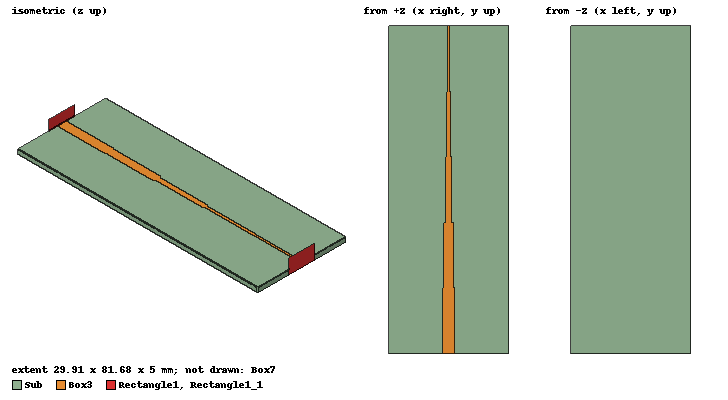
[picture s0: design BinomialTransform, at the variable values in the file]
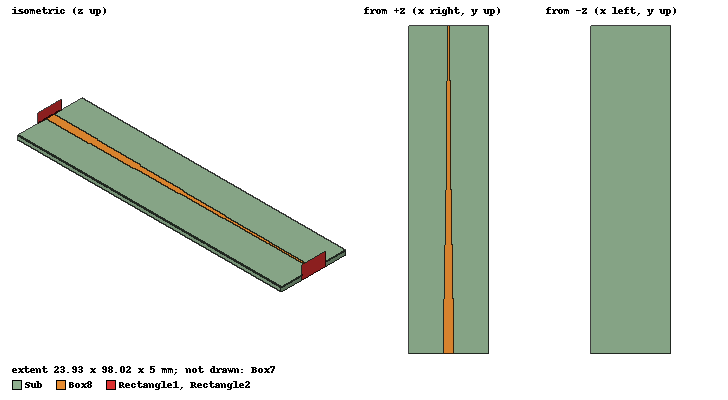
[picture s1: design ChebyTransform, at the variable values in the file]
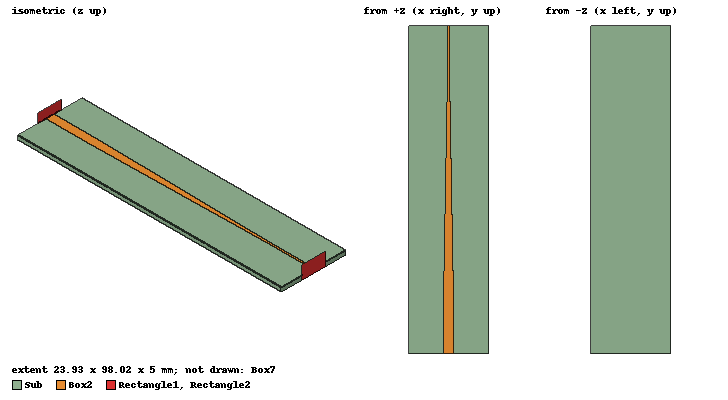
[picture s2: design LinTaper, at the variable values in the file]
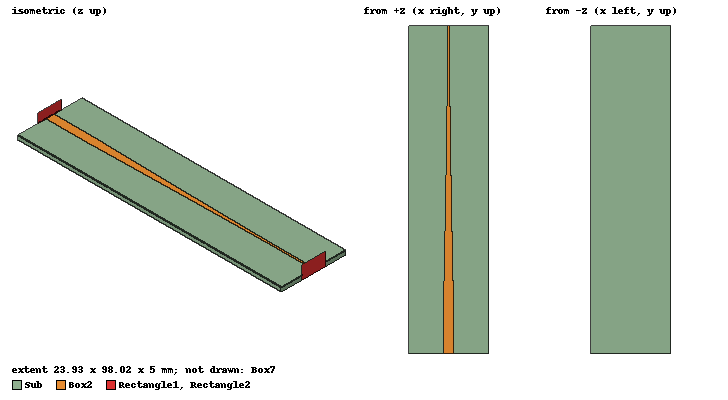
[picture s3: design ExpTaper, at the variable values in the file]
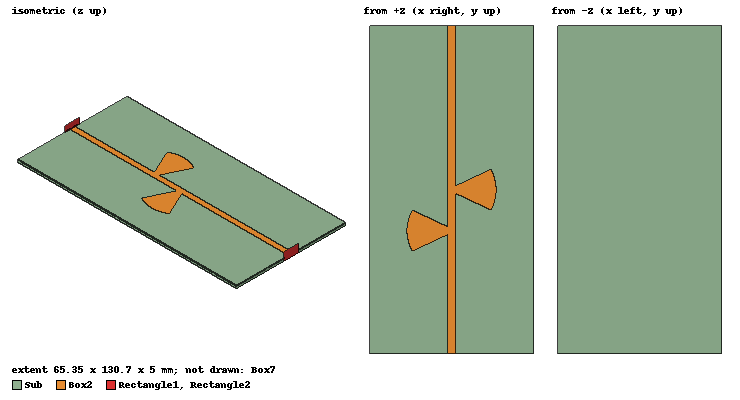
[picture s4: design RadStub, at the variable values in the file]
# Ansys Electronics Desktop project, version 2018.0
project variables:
  $h = 62mil
  $t = 0.7mil
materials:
  copper: permeability=0.999991 conductivity=58000000
  FR4_epoxy: permittivity=4.4 dielectric_loss_tangent=0.02
  vacuum: permittivity=1

design BinomialTransform (HFSS, DrivenModal, model units mm)
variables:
  h = 62mil
  w = 2.99067mm
  lam = (16.3365*4) mm
  w1 = 2.57627mm
  w2 = 1.5658mm
  w3 = 0.849831mm
  t = 0.7mil
  w4 = 0.6694mm
  reflectStandard = 20mm
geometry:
  Sub [FR4_epoxy] = box(corner=(-5*w, -lam/2, 0mm), size=(10*w, 5*lam/4, h))
  Box2 = box(corner=(-w/2, -lam/2, h), size=(w, lam/4, t))
  Box3 [copper] = box(corner=(-w1/2, -lam/4, h), size=(w1, lam/4, t))
  Box4 = box(corner=(-w2/2, 0, h), size=(w2, lam/4, t))
  Box5 = box(corner=(-w3/2, lam/4, h), size=(w3, lam/4, t))
  Box6 = box(corner=(-w4/2, lam/2, h), size=(w4, lam/4, t))
  Box7 [vacuum] = box(corner=(-5*w, -lam/2, h), size=(10*w, 5*lam/4, h+5*w))
  Box3.unite(Box4, Box6, Box2)
  Box3.unite(Box5)
  Rectangle1 = rectangle(corner=(-w/2-3mm, -lam/2, 0mm), z_size=5mm, x_size=w+6mm)
  Rectangle1_1 = Rectangle1.duplicate_along_line(step=(0mm, 5*lam/4, 0mm), total=2)
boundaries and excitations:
  Rad1: Radiation Faces=Box7.face(+x, +z, +y, -x, -y)
  1: Wave Port Objects=Rectangle1 NumModes=1 Modes{Mode1{IntLine{middle of Rectangle1.edge(z at corner) -> middle of Rectangle1.edge(z opposite corner)} CharImp=Zpi RenormImp=50ohm}}
  2: Wave Port Objects=Rectangle1_1 NumModes=1 Modes{Mode1{IntLine{middle of Rectangle1_1.edge(4 of 4) -> middle of Rectangle1_1.edge(2 of 4)} CharImp=Zpi}}
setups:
  Setup1: HfssDriven Frequency=2.5GHz MaxDeltaS=0.02 MaximumPasses=6 MinimumPasses=1 MinimumConvergedPasses=1 PercentRefinement=30 BasisOrder=1 PortAccuracy=2
    sweep Sweep: 0GHz to 6GHz step 0.01GHz; Type=Interpolating InterpTolerance=0.5 InterpMaxSolns=250 MinSolvedFreq=0.01GHz InterpUsePortImped=false PassivityErrorTolerance=0.0001
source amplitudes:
  1:1: 1W 0deg
  2:1: 0W 0deg
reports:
  Magnitude: dB(S(1,1)), dB(S(2,1)) vs Freq on Setup1 : Sweep; markers S11 at 2.5GHz, S21 at 2.5GHz
  Phase: ang_deg(S(1,1)), ang_deg(S(2,1)) vs Freq on Setup1 : Sweep
  VSWR: VSWR(1) vs Freq on Setup1 : Sweep; markers m1 at 2.5GHz

design ChebyTransform (HFSS, DrivenModal, model units mm)
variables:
  h = 62mil
  w = 2.99067mm
  lam = (16.3365*4) mm
  w4 = 0.902071mm
  t = 0.7mil
  w1 = 2.47403mm
  w2 = 1.86975mm
  w3 = 1.29407mm
  w5 = 0.6694mm
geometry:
  Sub [FR4_epoxy] = box(corner=(-4*w, -lam/2, 0mm), size=(8*w, 6*lam/4, h))
  Box3 = box(corner=(-w1/2, -lam/4, h), size=(w1, lam/4, t))
  Box4 = box(corner=(-w2/2, 0, h), size=(w2, lam/4, t))
  Box6 = box(corner=(-w4/2, lam/2, h), size=(w4, lam/4, t))
  Box2 = box(corner=(-w/2, -lam/2, h), size=(w, lam/4, t))
  Box3.unite(Box4, Box6, Box2)
  Box5 = box(corner=(-w3/2, lam/4, h), size=(w3, lam/4, t))
  Box3.unite(Box5)
  Box7 [vacuum] = box(corner=(-4*w, -lam/2, h), size=(8*w, 6*lam/4, 5*w))
  Rectangle1 = rectangle(corner=(-w/2 -3mm, -lam/2, 0mm), z_size=5mm, x_size=w+6mm)
  Rectangle2 = rectangle(corner=(-w/2-3mm, 4*lam/4, 0mm), z_size=5mm, x_size=w+6mm)
  Box8 [copper] = box(corner=(-w5/2, 3*lam/4, h), size=(w5, lam/4, t))
  Box8.unite(Box3)
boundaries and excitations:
  Rad1: Radiation Faces=Box7.face(+z, +x, +y, -x, -y)
  1: Wave Port Objects=Rectangle1 NumModes=1 Modes{Mode1{IntLine{middle of Rectangle1.edge(z at corner) -> middle of Rectangle1.edge(z opposite corner)} CharImp=Zpi}}
  2: Wave Port Objects=Rectangle2 NumModes=1 Modes{Mode1{IntLine{middle of Rectangle2.edge(z at corner) -> middle of Rectangle2.edge(z opposite corner)} CharImp=Zpi}}
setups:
  Setup1: HfssDriven Frequency=2.5GHz MaxDeltaS=0.02 MaximumPasses=6 MinimumPasses=1 MinimumConvergedPasses=1 PercentRefinement=30 BasisOrder=1 PortAccuracy=2
    sweep Sweep: 0GHz to 6GHz step 0.01GHz; Type=Interpolating InterpTolerance=0.5 InterpMaxSolns=250 MinSolvedFreq=0.01GHz InterpUsePortImped=false PassivityErrorTolerance=0.0001
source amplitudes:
  1:1: 1W 0deg
  2:1: 0W 0deg
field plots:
  Mag_E1: E Field over Box8.face(+z) on Setup1 : LastAdaptive at Freq=2.5GHz Phase=0deg
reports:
  Magnitude: dB(S(1,1)), dB(S(2,1)) vs Freq on Setup1 : Sweep; markers S11 at 2.5GHz, S21 at 2.5GHz
  Phase: ang_deg(S(1,1)), ang_deg(S(2,1)) vs Freq on Setup1 : Sweep; markers S21 at 2.5GHz, S11 at 2.5GHz
  VSWR: VSWR(1) vs Freq on Setup1 : Sweep; markers m1 at 2.5GHz

design LinTaper (HFSS, DrivenModal, model units mm)
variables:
  h = 62mil
  w = 2.99067mm
  lam = (16.3365*4) mm
  w5 = 0.6694mm
  w1 = 2.47403mm
  t = 0.7mil
  w4 = 0.902071mm
  w3 = 1.29407mm
  w2 = 1.86975mm
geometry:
  Sub [FR4_epoxy] = box(corner=(-4*w, -lam/2, 0mm), size=(8*w, 3*lam/2, h))
  Box7 [vacuum] = box(corner=(-4*w, -lam/2, h), size=(8*w, 3*lam/2, 5*w))
  Rectangle1 = rectangle(corner=(-w/2 -3mm, -lam/2, 0mm), z_size=5mm, x_size=w+6mm)
  Rectangle2 = rectangle(corner=(-w/2-3mm, lam, 0mm), z_size=5mm, x_size=w+6mm)
  Box8 = box(corner=(-w5/2, 3*lam/4, h), size=(w5, lam/4, t))
  Box2 [copper] = box(corner=(-w/2, -lam/2, h), size=(w, lam/4, t))
  Polyline1 = polyline(z=h, xy: (-w/2, -lam/4) (w/2, -lam/4) (w5/2, 3*lam/4) (-w5/2, 3*lam/4) (-w/2, -lam/4), closed, covered)
  Polyline1.thicken(t)
  Box2.unite(Box8, Polyline1)
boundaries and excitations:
  Rad1: Radiation Faces=Box7.face(+x, +z, +y, -x, -y)
  1: Wave Port Faces=Rectangle1.face NumModes=1 Modes{Mode1{IntLine{middle of Rectangle1.edge(z at corner) -> middle of Rectangle1.edge(z opposite corner)} CharImp=Zpi}}
  2: Wave Port Faces=Rectangle2.face NumModes=1 Modes{Mode1{IntLine{middle of Rectangle2.edge(z at corner) -> middle of Rectangle2.edge(z opposite corner)} CharImp=Zpi}}
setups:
  Setup1: HfssDriven Frequency=2.5GHz MaxDeltaS=0.02 MaximumPasses=6 MinimumPasses=1 MinimumConvergedPasses=1 PercentRefinement=30 BasisOrder=1 PortAccuracy=2
    sweep Sweep: 0GHz to 6GHz step 0.01GHz; Type=Interpolating InterpTolerance=0.5 InterpMaxSolns=250 MinSolvedFreq=0.01GHz InterpUsePortImped=false PassivityErrorTolerance=0.0001
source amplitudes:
  1:1: 1W 0deg
  2:1: 0W 0deg
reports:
  Magnitude: dB(S(1,1)), dB(S(2,1)) vs Freq on Setup1 : Sweep; markers S11 at 2.5GHz, S21 at 2.5GHz
  Phase: ang_deg(S(1,1)), ang_deg(S(2,1)) vs Freq on Setup1 : Sweep; markers S21 at 2.5GHz, S11 at 2.5GHz
  VSWR: VSWR(1) vs Freq on Setup1 : Sweep; markers m1 at 2.5GHz

design ExpTaper (HFSS, DrivenModal, model units mm)
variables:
  h = 62mil
  w = 2.99067mm
  lam = (16.3365*4) mm
  w5 = 0.6694mm
  t = 0.7mil
  z0 = 50
  zL = 100
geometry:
  Sub [FR4_epoxy] = box(corner=(-4*w, -lam/2, 0mm), size=(8*w, 6*lam/4, h))
  Box7 [vacuum] = box(corner=(-4*w, -lam/2, h), size=(8*w, 6*lam/4, 5*w))
  Rectangle1 = rectangle(corner=(-w/2 -3mm, -lam/2, 0mm), z_size=5mm, x_size=w+6mm)
  Rectangle2 = rectangle(corner=(-w/2-3mm, lam, 0mm), z_size=5mm, x_size=w+6mm)
  Box2 [copper] = box(corner=(-w/2, -lam/2, h), size=(w, lam/4, t))
  Box8 = box(corner=(-w5/2, 3*lam/4, h), size=(w5, lam/4, t))
  EquationCurve1 = equation_curve(x=(( (7.48*h) / exp((z0*exp((_t+lam/4)/(lam)*ln(zL/z0))) * sqrt(4.4+1.41)/87) ) - 1.25*t)/2, y=_t, z=h, _t=-lam/4 to 3*lam/4)
  EquationCurve1_1 = EquationCurve1.duplicate_mirror(point=(0mm, -16.3365mm, h), normal=(0.99998153mm, 0mm, 0mm))
  Polyline1 = polyline((1.4628139mm, -lam/4, h) (-1.4628139mm, -lam/4, h))
  Polyline2 = polyline((0.3577416mm, 3*lam/4, h) (-0.3577416mm, 3*lam/4, h))
  EquationCurve1.unite(EquationCurve1_1, Polyline1, Polyline2)
  EquationCurve1.cover_lines()
  EquationCurve1.thicken(t)
  Box2.unite(EquationCurve1, Box8)
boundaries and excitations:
  Rad1: Radiation Faces=Box7.face(+x, +y, +z, -x, -y)
  1: Wave Port Objects=Rectangle1 NumModes=1 Modes{Mode1{IntLine{middle of Rectangle1.edge(z at corner) -> middle of Rectangle1.edge(z opposite corner)} CharImp=Zpi}}
  2: Wave Port Objects=Rectangle2 NumModes=1 Modes{Mode1{IntLine{middle of Rectangle2.edge(z at corner) -> middle of Rectangle2.edge(z opposite corner)} CharImp=Zpi}}
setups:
  Setup1: HfssDriven Frequency=2.5GHz MaxDeltaS=0.02 MaximumPasses=6 MinimumPasses=1 MinimumConvergedPasses=1 PercentRefinement=30 BasisOrder=1 PortAccuracy=2
    sweep Sweep: 0GHz to 6GHz step 0.01GHz; Type=Interpolating InterpTolerance=0.5 InterpMaxSolns=250 MinSolvedFreq=0.01GHz InterpUsePortImped=false PassivityErrorTolerance=0.0001
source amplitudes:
  1:1: 1W 0deg
  2:1: 0W 0deg
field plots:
  Mag_E1: E Field over Box2.face(4 of 6, 5 of 6, 6 of 6, +z, -z, -y, -x, +x) on Setup1 : LastAdaptive at Freq=2.5GHz Phase=0deg
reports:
  Magnitude: dB(S(1,1)), dB(S(2,1)) vs Freq on Setup1 : Sweep; markers S11 at 2.5GHz, S21 at 2.5GHz
  Phase: ang_deg(S(1,1)), ang_deg(S(2,1)) vs Freq on Setup1 : Sweep; markers S11 at 2.5GHz, S21 at 2.5GHz
  VSWR: VSWR(1) vs Freq on Setup1 : Sweep; markers m1 at 2.5GHz

design RadStub (HFSS, DrivenModal, model units mm)
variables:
  h = 62mil
  w = 2.99067mm
  lam = (16.3365*4) mm
  w5 = 0.6694mm
  t = 0.7mil
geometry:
  Sub [FR4_epoxy] = box(corner=(-lam/2, -lam, 0mm), size=(lam, 2*lam, h))
  Box7 [vacuum] = box(corner=(-lam/2, -lam, h), size=(lam, lam*2, 5*w))
  Rectangle1 = rectangle(corner=(-w/2 -3mm, -lam, 0mm), z_size=5mm, x_size=w+6mm)
  Rectangle2 = rectangle(corner=(-w/2-3mm, lam, 0mm), z_size=5mm, x_size=w+6mm)
  Box2 [copper] = box(corner=(-w/2, -lam, h), size=(w, 2*lam, t))
  Polyline2 = polyline((-w/2, -lam/4-w/2, h) (-w/2, -lam/4 + w/2, h))
  Polyline4 = polyline((-w/2, -lam/4 + w/2, h) (-w/2 - sqrt(3)*lam/8, -lam/8, h))
  Polyline5 = polyline((-w/2, -lam/4 - w/2, h) (-w/2 - sqrt(3)*lam/8, -3*lam/8, h))
  Polyline6 = polyline((-w/2 -sqrt(3)*lam/8, - lam/8, h) (-17.831835mm, -16.3365mm, 1.5748mm) (-15.643159mm, -24.50475mm, 1.5748mm), AngularArc from point 0 over 3 centre=(-w/2, -lam/4, h) angle=60deg plane=XY)
  Polyline2.unite(Polyline4, Polyline5, Polyline6)
  Polyline2.cover_lines()
  Polyline2.thicken(t)
  Polyline2_1 = Polyline2.duplicate_along_line(step=(0mm, lam/4, 0mm), total=2)
  Polyline2_1.mirror(point=(0mm, 0mm, h), normal=(-1mm, 0mm, 0mm))
  Box2.unite(Polyline2, Polyline2_1)
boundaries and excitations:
  Rad1: Radiation Faces=Box7.face(+x, +z, +y, -x, -y)
  1: Wave Port Objects=Rectangle1 NumModes=1 Modes{Mode1{IntLine{middle of Rectangle1.edge(z at corner) -> middle of Rectangle1.edge(z opposite corner)} CharImp=Zpi}}
  2: Wave Port Objects=Rectangle2 NumModes=1 Modes{Mode1{IntLine{middle of Rectangle2.edge(z at corner) -> middle of Rectangle2.edge(z opposite corner)} CharImp=Zpi}}
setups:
  Setup1: HfssDriven Frequency=2.5GHz MaxDeltaS=0.02 MaximumPasses=6 MinimumPasses=1 MinimumConvergedPasses=1 PercentRefinement=30 BasisOrder=1 PortAccuracy=2
    sweep Sweep: 0GHz to 10GHz step 0.01GHz; Type=Interpolating InterpTolerance=0.5 InterpMaxSolns=250 MinSolvedFreq=0.01GHz InterpUsePortImped=false PassivityErrorTolerance=0.0001
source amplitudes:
  1:1: 1W 0deg
  2:1: 0W 0deg
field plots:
  Mag_E1: E Field over Box2.face(+z) on Setup1 : LastAdaptive at Freq=2.5GHz Phase=0deg
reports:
  XY Plot 2: dB(S(1,1)), dB(S(1,2)) vs Freq on Setup1 : Sweep; markers S12_2_5 at 2.5GHz, S11_2_5 at 2.5GHz, S11_DC at 0GHz, S12_DC at 0GHz

design RadialStub (Circuit)
options: SParamCircuitDef IntegrationMethod=FFT
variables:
  width = 2.99067mm
  qwl = 16.3365mm
  qwl2 = 8.16824mm
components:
  A4 = MS_TRL(W=width P=qwl)
  A5 = MS_TRL(W=width P=qwl)
  A1 = MS_TRL(W=width P=2*qwl)
  A48 = MSRSTSW_NX(RL=qwl WI=width)
  A49 = MSRSTSW_NX(RL=qwl WI=width)
  port n1 pnum=2 rz=50ohm iz=0ohm
  port n2 pnum=1 rz=50ohm iz=0ohm
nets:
  n1: A4.0
  n2: A5.1
  net_1: A4.1, A48.0
  net_6: A1.1, A49.0
  net_7: A5.0, A49.1
  net_8: A1.0, A48.1
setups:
  LinearFrequency: LinearFrequencyData(false, 0.1, false, "", false) SweepDefinition{Variable=F Data="LIN 0GHz 10GHz 0.01GHz"}
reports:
  Magnitude: dB(S(n2,n1)), dB(S(n1,n1)) vs F on LinearFrequency : LinearFrequency; markers S21 2_5GHz at 2.5GHz, S11 2_5GHz at 2.5GHz, S21 DC at 0GHz, S11 DC at 0GHz
  Phase: ang_deg(S(n2,n1)), ang_deg(S(n1,n1)) vs F on LinearFrequency : LinearFrequency
  VSWR: VSWR(n1) vs F on LinearFrequency : LinearFrequency; markers DC at 0GHz, 2_5 GHz at 2.5GHz

design ExponentialTaper (Circuit)
options: SParamCircuitDef IntegrationMethod=FFT
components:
  A14 = MS_TAPW_Physical_Exp(W1=2.99067mm W2=0.6694mm P="(16.3365*4) mm")
  A15 = MS_TRL(W=0.6694mm P=17.2516mm)
  A16 = MS_TRL(W=2.99067mm P=16.3365mm)
  port n1 pnum=1 rz=50ohm iz=0ohm
  port n2 pnum=2 rz=100ohm iz=0ohm noisetemp=16.85 noisetemporig=16.85cel
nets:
  n1: A16.0
  n2: A15.1
  net_1: A14.1, A15.0
  net_2: A14.0, A16.1
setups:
  LinearFrequency: LinearFrequencyData(false, 0.1, false, "", false) SweepDefinition{Variable=F Data="LIN 0GHz 6GHz 0.01GHz"}
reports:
  Magnitude: dB(S(n1,n1)), dB(S(n2,n1)) vs F on LinearFrequency : LinearFrequency; markers m1 at 2.5GHz, m2 at 2.5GHz
  Phase: ang_deg(S(n1,n1)), ang_deg(S(n2,n1)) vs F on LinearFrequency : LinearFrequency
  VSWR: VSWR(n1) vs F on LinearFrequency : LinearFrequency; markers m1 at 2.5GHz

design BinomialTransformer (Circuit)
options: SParamCircuitDef IntegrationMethod=FFT
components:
  A22 = MS_TRL(W=2.57627mm P=16.4509mm)
  A23 = MS_TRL(W=1.5658mm P=16.8026mm)
  A24 = MS_TRL(W=0.849831mm P=17.1438mm)
  port n1 pnum=2 rz=50ohm iz=0ohm
  port n2 pnum=1 rz=100ohm iz=0ohm noisetemp=16.85 noisetemporig=16.85cel
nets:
  n1: A22.0
  n2: A24.1
  net_1: A22.1, A23.0
  net_2: A23.1, A24.0
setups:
  LinearFrequency: LinearFrequencyData(false, 0.1, false, "", false) SweepDefinition{Variable=F Data="LIN 0GHz 6GHz 0.01GHz"}
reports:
  Magnitude: dB(S(n2,n1)), dB(S(n1,n1)) vs F on LinearFrequency : LinearFrequency; markers m1 at 2.5GHz, m2 at 2.5GHz
  Phase: ang_deg(S(n2,n1)), ang_deg(S(n1,n1)) vs F on LinearFrequency : LinearFrequency; markers m1 at 2.5GHz
  VSWR: VSWR(n1) vs F on LinearFrequency : LinearFrequency; markers m1 at 2.5GHz

design ChebyTransformer (Circuit)
options: SParamCircuitDef IntegrationMethod=FFT
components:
  A28 = MS_TRL(W=2.47403mm P=16.4814mm)
  A29 = MS_TRL(W=1.86975mm P=16.6837mm)
  A30 = MS_TRL(W=1.29407mm P=16.9205mm)
  A1 = MS_TRL(W=0.902071mm P=17.115mm)
  port n1 pnum=1 rz=50ohm iz=0ohm
  port n2 pnum=2 rz=100ohm iz=0ohm noisetemp=16.85 noisetemporig=16.85cel
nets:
  n1: A28.0
  n2: A1.1
  net_1: A28.1, A29.0
  net_2: A29.1, A30.0
  net_5: A30.1, A1.0
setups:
  LinearFrequency: LinearFrequencyData(false, 0.1, false, "", false) SweepDefinition{Variable=F Data="LIN 0GHz 6GHz 0.01GHz"}
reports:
  Magnitude: dB(S(n1,n1)), dB(S(n2,n1)) vs F on LinearFrequency : LinearFrequency; markers m1 at 2.5GHz, m2 at 2.5GHz
  VSWR: VSWR(n1) vs F on LinearFrequency : LinearFrequency; markers m1 at 2.5GHz
  Phase: ang_deg(S(n1,n1)), ang_deg(S(n2,n1)) vs F on LinearFrequency : LinearFrequency; markers m1 at 2.5GHz

design LinearTaper (Circuit)
options: SParamCircuitDef IntegrationMethod=FFT
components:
  A32 = MS_TAPW_Impedance(W1=0.6694mm W2=2.99067mm P="(16.335*4) mm")
  A34 = MS_TRL(W=0.6694mm P=17.2516mm)
  A35 = MS_TRL(W=2.99067mm P=16.3365mm)
  port Port1 pnum=1 rz=50ohm iz=0ohm noisetemp=16.85 noisetemporig=16.85cel
  port Port2 pnum=2 rz=100ohm iz=0ohm noisetemp=16.85 noisetemporig=16.85cel
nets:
  net_1: A32.0, A34.1
  net_2: A32.1, A35.0
  Port1: A35.1
  Port2: A34.0
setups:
  LinearFrequency: LinearFrequencyData(false, 0.1, false, "", false) SweepDefinition{Variable=F Data="LIN 0GHz 6GHz 0.01GHz"}
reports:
  Magnitude: dB(S(Port1,Port1)), dB(S(Port2,Port1)) vs F on LinearFrequency : LinearFrequency; markers m1 at 2.5GHz, m2 at 2.5GHz
  Phase: ang_deg(S(Port1,Port1)), ang_deg(S(Port2,Port1)) vs F on LinearFrequency : LinearFrequency; markers m1 at 2.5GHz
  VSWR: VSWR(Port1) vs F on LinearFrequency : LinearFrequency; markers m1 at 2.5GHz
